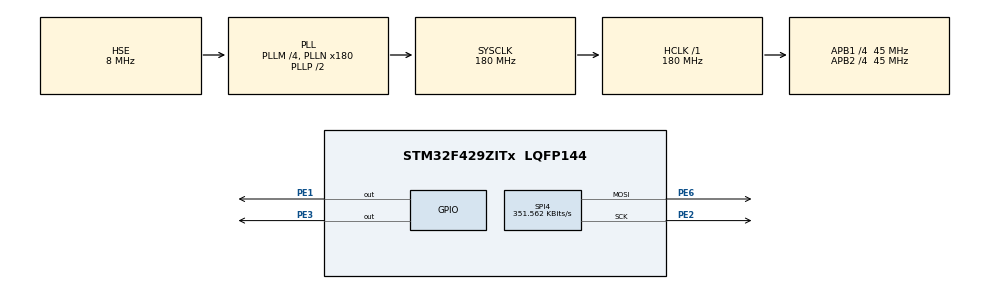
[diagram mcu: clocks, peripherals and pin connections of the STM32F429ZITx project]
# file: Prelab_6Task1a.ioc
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Mcu.Family=STM32F4
Mcu.Name=STM32F429ZITx
Mcu.Package=LQFP144
NVIC.PriorityGroup=NVIC_PRIORITYGROUP_4
NVIC.RCC_IRQn=true\:0\:0\:false\:false\:true\:true\:false\:true
PE1.Signal=GPIO_Output
PE2.Mode=TX_Only_Simplex_Unidirect_Master
PE2.Signal=SPI4_SCK
PE3.Signal=GPIO_Output
PE6.Mode=TX_Only_Simplex_Unidirect_Master
PE6.Signal=SPI4_MOSI
PH0/OSC_IN.Mode=HSE-External-Oscillator
PH0/OSC_IN.Signal=RCC_OSC_IN
PH1/OSC_OUT.Mode=HSE-External-Oscillator
PH1/OSC_OUT.Signal=RCC_OSC_OUT
ProjectManager.HeapSize=0x200
ProjectManager.StackSize=0x400
ProjectManager.TargetToolchain=EWARM V8.50
RCC.48MHZClocksFreq_Value=90000000
RCC.AHBFreq_Value=180000000
RCC.APB1CLKDivider=RCC_HCLK_DIV4
RCC.APB1Freq_Value=45000000
RCC.APB1TimFreq_Value=90000000
RCC.APB2CLKDivider=RCC_HCLK_DIV4
RCC.APB2Freq_Value=45000000
RCC.APB2TimFreq_Value=90000000
RCC.CortexFreq_Value=180000000
RCC.HCLKFreq_Value=180000000
RCC.HSE_VALUE=8000000
RCC.HSI_VALUE=16000000
RCC.LSE_VALUE=32768
RCC.PLLM=4
RCC.PLLN=180
RCC.PLLSourceVirtual=RCC_PLLSOURCE_HSE
RCC.SYSCLKFreq_VALUE=180000000
RCC.SYSCLKSource=RCC_SYSCLKSOURCE_PLLCLK
RCC.VCOOutputFreq_Value=360000000
SPI4.BaudRatePrescaler=SPI_BAUDRATEPRESCALER_128
SPI4.CalculateBaudRate=351.562 KBits/s
SPI4.Direction=SPI_DIRECTION_2LINES
SPI4.Mode=SPI_MODE_MASTER
SPI4.VirtualType=VM_MASTER
board=custom

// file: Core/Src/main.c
/* USER CODE BEGIN Header */
/**
  ******************************************************************************
  * @file           : main.c
  * @brief          : Main program body
  ******************************************************************************
  * @attention
  *
  * Copyright (c) 2023 STMicroelectronics.
  * All rights reserved.
  *
  * This software is licensed under terms that can be found in the LICENSE file
  * in the root directory of this software component.
  * If no LICENSE file comes with this software, it is provided AS-IS.
  *
  ******************************************************************************
  */
/* USER CODE END Header */
#include "main.h"

/* USER CODE BEGIN PD */
 #define Function_Set 0b00110000 //0x30
 #define Display_On 0b00001100 //0x0C can also try 0x0f
 #define Display_Clear 0b00000001 //0x01
 #define Entry_Mode_Set 0b00000110 //0x06
 #define RETURN_HOME 0b00000010
/* USER CODE END PD */

SPI_HandleTypeDef hspi4;

void SystemClock_Config(void);
static void MX_GPIO_Init(void);
static void MX_SPI4_Init(void);
/* USER CODE BEGIN PFP */

 void LCD_Init(void);
 void LCD_Sel_Row_Col(uint8_t row, uint8_t col);
 void LCD_SendCommand (uint8_t cmd);
 void LCD_SendData (uint8_t value);
 void LCD_Clear(void);
 void LCD_sendString(char* in);
/* USER CODE END PFP */

int main(void)
{

  /* MCU Configuration--------------------------------------------------------*/

  /* Reset of all peripherals, Initializes the Flash interface and the Systick. */
  HAL_Init();

  /* Configure the system clock */
  SystemClock_Config();

  /* Initialize all configured peripherals */
  MX_GPIO_Init();
  MX_SPI4_Init();
  /* USER CODE BEGIN 2 */

 char *usr_msg = " ECE 5530 Minhaz Shahrier Sriram Karthik ";
 HAL_SPI_Init(&hspi4);
 LCD_Init();

  /* USER CODE END 2 */

  /* Infinite loop */
 while (1)
 {

 }
}

void SystemClock_Config(void)
{
  RCC_OscInitTypeDef RCC_OscInitStruct = {0};
  RCC_ClkInitTypeDef RCC_ClkInitStruct = {0};

  /** Configure the main internal regulator output voltage
  */
  __HAL_RCC_PWR_CLK_ENABLE();
  __HAL_PWR_VOLTAGESCALING_CONFIG(PWR_REGULATOR_VOLTAGE_SCALE1);

  /** Initializes the RCC Oscillators according to the specified parameters
  * in the RCC_OscInitTypeDef structure.
  */
  RCC_OscInitStruct.OscillatorType = RCC_OSCILLATORTYPE_HSE;
  RCC_OscInitStruct.HSEState = RCC_HSE_ON;
  RCC_OscInitStruct.PLL.PLLState = RCC_PLL_ON;
  RCC_OscInitStruct.PLL.PLLSource = RCC_PLLSOURCE_HSE;
  RCC_OscInitStruct.PLL.PLLM = 4;
  RCC_OscInitStruct.PLL.PLLN = 180;
  RCC_OscInitStruct.PLL.PLLP = RCC_PLLP_DIV2;
  RCC_OscInitStruct.PLL.PLLQ = 4;
  if (HAL_RCC_OscConfig(&RCC_OscInitStruct) != HAL_OK)
  {
    Error_Handler();
  }

  /** Activate the Over-Drive mode
  */
  if (HAL_PWREx_EnableOverDrive() != HAL_OK)
  {
    Error_Handler();
  }

  /** Initializes the CPU, AHB and APB buses clocks
  */
  RCC_ClkInitStruct.ClockType = RCC_CLOCKTYPE_HCLK|RCC_CLOCKTYPE_SYSCLK
                              |RCC_CLOCKTYPE_PCLK1|RCC_CLOCKTYPE_PCLK2;
  RCC_ClkInitStruct.SYSCLKSource = RCC_SYSCLKSOURCE_PLLCLK;
  RCC_ClkInitStruct.AHBCLKDivider = RCC_SYSCLK_DIV1;
  RCC_ClkInitStruct.APB1CLKDivider = RCC_HCLK_DIV4;
  RCC_ClkInitStruct.APB2CLKDivider = RCC_HCLK_DIV4;

  if (HAL_RCC_ClockConfig(&RCC_ClkInitStruct, FLASH_LATENCY_5) != HAL_OK)
  {
    Error_Handler();
  }
}

static void MX_SPI4_Init(void)
{

  /* SPI4 parameter configuration*/
  hspi4.Instance = SPI4;
  hspi4.Init.Mode = SPI_MODE_MASTER;
  hspi4.Init.Direction = SPI_DIRECTION_2LINES;
  hspi4.Init.DataSize = SPI_DATASIZE_8BIT;
  hspi4.Init.CLKPolarity = SPI_POLARITY_LOW;
  hspi4.Init.CLKPhase = SPI_PHASE_1EDGE;
  hspi4.Init.NSS = SPI_NSS_SOFT;
  hspi4.Init.BaudRatePrescaler = SPI_BAUDRATEPRESCALER_128;
  hspi4.Init.FirstBit = SPI_FIRSTBIT_MSB;
  hspi4.Init.TIMode = SPI_TIMODE_DISABLE;
  hspi4.Init.CRCCalculation = SPI_CRCCALCULATION_DISABLE;
  hspi4.Init.CRCPolynomial = 10;
  if (HAL_SPI_Init(&hspi4) != HAL_OK)
  {
    Error_Handler();
  }

}

static void MX_GPIO_Init(void)
{
  GPIO_InitTypeDef GPIO_InitStruct = {0};

  /* GPIO Ports Clock Enable */
  __HAL_RCC_GPIOE_CLK_ENABLE();
  __HAL_RCC_GPIOH_CLK_ENABLE();

  /*Configure GPIO pin Output Level */
  HAL_GPIO_WritePin(GPIOE, GPIO_PIN_3|GPIO_PIN_1, GPIO_PIN_RESET);

  /*Configure GPIO pins : PE3 PE1 */
  GPIO_InitStruct.Pin = GPIO_PIN_3|GPIO_PIN_1;
  GPIO_InitStruct.Mode = GPIO_MODE_OUTPUT_PP;
  GPIO_InitStruct.Pull = GPIO_NOPULL;
  GPIO_InitStruct.Speed = GPIO_SPEED_FREQ_LOW;
  HAL_GPIO_Init(GPIOE, &GPIO_InitStruct);

}

/* USER CODE BEGIN 4 */
 void LCD_Init(void)
{
 //8 bit interface:

 HAL_GPIO_WritePin(GPIOE, GPIO_PIN_1, GPIO_PIN_RESET); // Make sure low
HAL_Delay(100);
HAL_GPIO_WritePin(GPIOE,GPIO_PIN_1, GPIO_PIN_SET); //Low to high
HAL_Delay(50); // greater than 40ms
LCD_SendCommand(Function_Set);
HAL_Delay(10); // greater than 100us
LCD_SendCommand(Function_Set);
HAL_Delay(10); // greater than 37us
LCD_SendCommand(Display_On);
HAL_Delay(10); // greater than 100us
LCD_SendCommand(Display_Clear);
HAL_Delay(15); // greater than 10ms
LCD_SendCommand(Entry_Mode_Set);
HAL_Delay(1); // Init sequence end
 }
void LCD_Clear(void)
{
 LCD_SendCommand(Display_Clear);
 HAL_Delay(2); // greater than 2ms
}
uint8_t data [3];
uint8_t data2 [3];
void LCD_SendCommand(uint8_t cmd)
{

 data2[0]=0xF8;
 data2[1]= (cmd & 0xF0);
 data2[2]=((cmd << 4) & 0xF0);
HAL_GPIO_WritePin(GPIOE, GPIO_PIN_3, GPIO_PIN_SET);
 HAL_SPI_Transmit(&hspi4, data2, 3, 1);
 HAL_GPIO_WritePin(GPIOE, GPIO_PIN_3, GPIO_PIN_RESET);
}
void LCD_SendData (uint8_t value){

 data[0]=0xFA;
 data[1]= (value & 0xF0);
 data[2]=((value << 4) & 0xF0);
HAL_GPIO_WritePin(GPIOE, GPIO_PIN_3, GPIO_PIN_SET);
 HAL_SPI_Transmit(&hspi4, data, 3, 1);
 HAL_GPIO_WritePin(GPIOE, GPIO_PIN_3, GPIO_PIN_RESET);
}
void LCD_Sel_Row_Col(uint8_t row, uint8_t col)
{
 switch(row)
 {

 //Selecting Row and collum "Instruction Set"
 case 0:
 col /= 2; //cursor is 2 spaces wide
 col |= 0x80; // 0b10000000
 break;
 case 1:
 col /= 2; //cursor is 2 spaces wide
 col |= 0x90; // 0b10010000
 break;
 case 2:
 col /= 2; //cursor is 2 spaces wide
 col |= 0x88; // 0b10001000
 break;
 case 3:
 col /= 2; //cursor is 2 spaces wide
 col |= 0x98; // 0b10011000
 break;
 default:
 col |= 0x80; // 0b10000000
 break;
 }
 LCD_SendCommand(col);
 HAL_Delay(2);
 }
void LCD_sendString(char* in) {
 char padded_str[64];
 uint8_t len = strlen(in);

 // copy input string to padded_str and add spaces at the end
 strncpy(padded_str, in, len);
 for(uint8_t i = len; i < 64; i++)
 padded_str[i] = ' ';
 padded_str[64] = '\0'; // terminate the string

 LCD_Sel_Row_Col(0, 0);

 for(uint8_t i = 0; i < 16; i++)
 LCD_SendData(padded_str[i]);
 //Select third line and send from 16 to 31
 LCD_Sel_Row_Col(1, 0);
 for(uint8_t i = 16; i < 32; i++)
 LCD_SendData(padded_str[i]);
 LCD_Sel_Row_Col(2, 0);
 for(uint8_t i = 32; i < 48; i++)
 LCD_SendData(padded_str[i]);

 //Select fourth line and send continuous underscores
 LCD_Sel_Row_Col(3, 0);
 for(uint8_t i = 48; i < 64; i++)
 LCD_SendData(padded_str[i]);
}
/* USER CODE END 4 */

void Error_Handler(void)
{
 __disable_irq();
 while (1)
 {
 }
}
